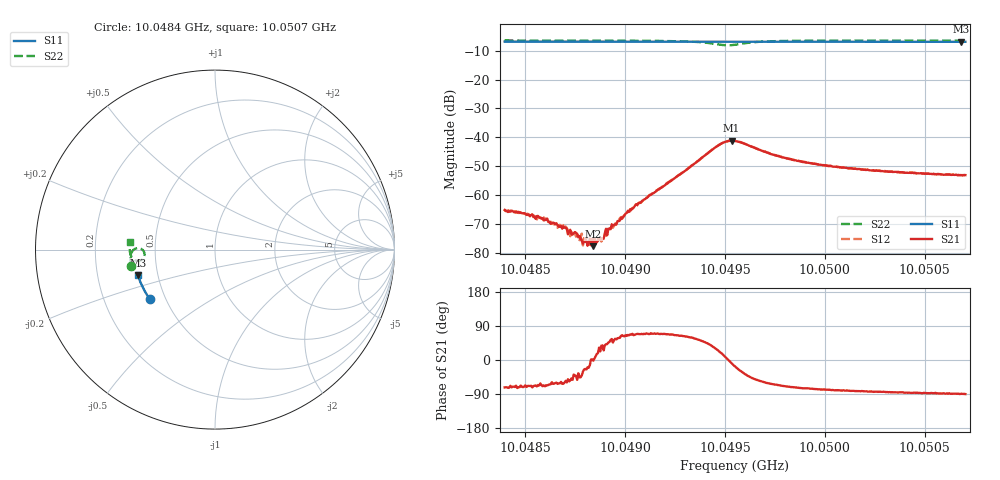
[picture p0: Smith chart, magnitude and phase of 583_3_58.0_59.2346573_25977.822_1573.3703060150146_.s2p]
#  HZ  S  RI  R  50.00
! Rohde & Schwarz Vector Network Analyzer
! Rohde-Schwarz,ZNB20-2Port,1311601062101988,3.16
! Created: UTC 3/21/2024, 1:16:25 AM
! freq[Hz]  re:S11  im:S11  re:S21  im:S21  re:S12  im:S12  re:S22  im:S22
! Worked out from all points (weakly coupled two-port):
!   401 points, 10.0484 GHz to 10.0507 GHz, reference 50 ohm
!   highest |S21| = -41.17 dB at 10.04953 GHz (marker M1); lowest = -77.7 dB at 10.04884 GHz (marker M2)
!   lowest |S11| = -6.9 dB at 10.05068 GHz (marker M3), VSWR 2.65, Z = 19.3 - j6.99 ohm
!   |S11| at or under -10 dB: nowhere
!   |S22| runs from -8.1 to -6.4 dB; largest |S21 - S12| = 0.00064
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1.0048398e10  -0.3623 -0.2774  0.000166 -0.000524  0.000213 -0.00052  -0.4681 -0.0926
1.004857e10  -0.3688 -0.268  0.000158 -0.00038  0.000148 -0.000352  -0.4698 -0.08
1.0048594e10  -0.3697 -0.2667  0.000142 -0.000333  0.000199 -0.000354  -0.4701 -0.0782
1.0048697e10  -0.3735 -0.261  0.000137 -0.000234  0.000153 -0.000207  -0.4708 -0.0704
1.0048726e10  -0.3745 -0.2594  0.000148 -0.000202  0.000119 -0.000153  -0.4711 -0.0681
1.0048761e10  -0.3756 -0.2575  0.000131 -0.000169  0.000147 -0.000141  -0.4713 -0.0654
1.0048784e10  -0.3767 -0.2563  0.000122 -0.000104  0.000179 -0.000117  -0.4713 -0.0635
1.0048801e10  -0.3771 -0.2552  0.000141 -6.14e-05  0.000147 -7.01e-05  -0.4714 -0.0621
1.004883e10  -0.3782 -0.2536  0.000137 2.82e-06  0.000132 -2.19e-05  -0.4715 -0.0597
1.0048841e10  -0.3785 -0.2529  0.00013 -4.1e-06  0.000155 3.5e-05  -0.4716 -0.0587
1.0048882e10  -0.3799 -0.2507  0.000141 0.00011  0.000129 8.96e-05  -0.4715 -0.0553
1.0048928e10  -0.3815 -0.2481  0.000153 0.000204  0.000184 0.000196  -0.4716 -0.0514
1.0049014e10  -0.3846 -0.2431  0.000217 0.000489  0.000175 0.000474  -0.4714 -0.0434
1.004917e10  -0.3896 -0.2343  0.000454 0.00117  0.000425 0.00122  -0.4687 -0.0264
1.0049458e10  -0.3982 -0.2175  0.0061 0.00328  0.00586 0.00367  -0.4124 0.00467
1.0049533e10  -0.4 -0.2133  0.00865 -0.00124  0.00875 -0.000702  -0.3939 -0.0379
1.0049551e10  -0.4004 -0.2125  0.00828 -0.00252  0.00848 -0.00192  -0.3991 -0.0484
1.0049741e10  -0.4065 -0.2015  0.0022 -0.00451  0.00249 -0.00439  -0.4608 -0.0472
1.0049937e10  -0.4119 -0.1899  0.000869 -0.0034  0.00104 -0.00341  -0.4723 -0.0218
1.0050323e10  -0.4214 -0.1664  0.000237 -0.00252  0.000376 -0.00255  -0.4754 0.0129
1.0050681e10  -0.4287 -0.1441  1.77e-05 -0.00221  0.000184 -0.00221  -0.4741 0.0394
1.0050704e10  -0.4292 -0.1427  2.74e-06 -0.00222  0.000128 -0.00219  -0.474 0.0411
